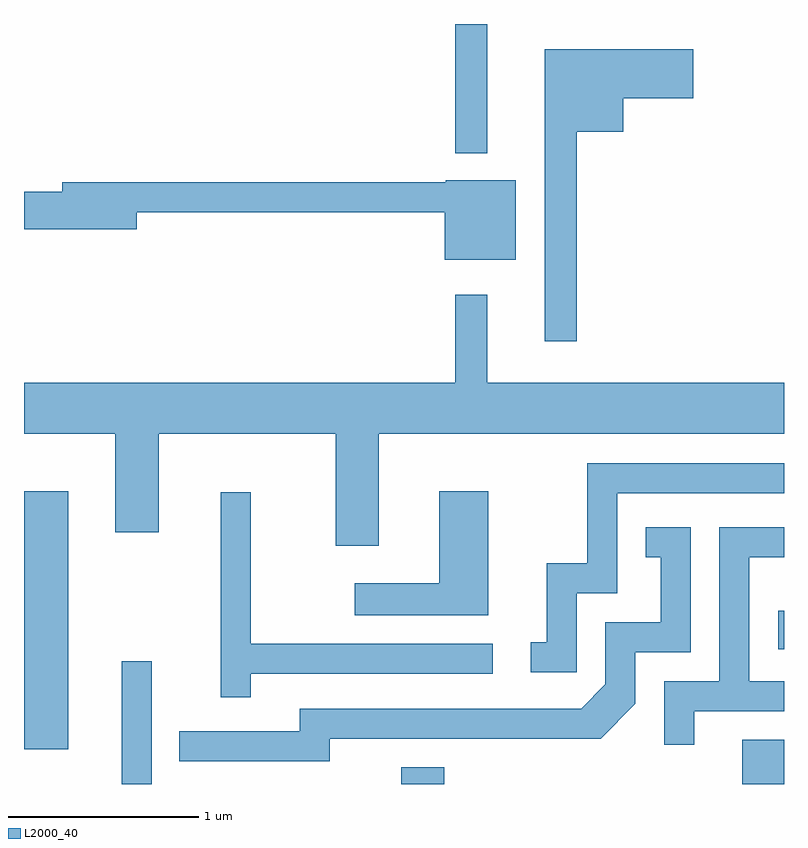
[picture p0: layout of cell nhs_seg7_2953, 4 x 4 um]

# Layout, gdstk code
import gdstk
lib = gdstk.Library(unit=1e-6, precision=1e-09)
def R(c, l, rs):  # rectangles x0, y0, x1, y1
    for r in rs: c.add(gdstk.rectangle(r[:2], r[2:], *l))
def P(c, l, *ps):  # polygons
    for p in ps: c.add(gdstk.Polygon(p, *l))
L2000_40 = (2000, 40)

nhs_seg7_2953 = lib.new_cell('nhs_seg7_2953')
R(nhs_seg7_2953, L2000_40, [(276.126,1710.252,276.284,1710.898), (277.596,1710.252,277.824,1710.339), (279.391,1710.252,279.611,1710.484), (275.611,1710.436,275.844,1711.794), (279.581,1710.961,279.611,1711.164), (277.881,1713.573,278.049,1714.252)])
P(nhs_seg7_2953, L2000_40, [(278.519,1713.686),(278.764,1713.686),(278.764,1713.861),(279.134,1713.861),(279.134,1714.119),(278.351,1714.119),(278.351,1712.583),(278.519,1712.583)],
  [(278.199,1713.429),(277.83,1713.429),(277.83,1713.419),(275.811,1713.419),(275.811,1713.369),(275.611,1713.369),(275.611,1713.171),(276.204,1713.171),(276.204,1713.261),(277.826,1713.261),(277.826,1713.011),(278.199,1713.011)],
  [(277.479,1712.096),(279.611,1712.096),(279.611,1712.364),(278.049,1712.364),(278.049,1712.828),(277.881,1712.828),(277.881,1712.364),(275.611,1712.364),(275.611,1712.096),(276.091,1712.096),(276.091,1711.576),(276.319,1711.576),(276.319,1712.096),(277.251,1712.096),(277.251,1711.506),(277.479,1711.506)],
  [(278.519,1711.256),(278.734,1711.256),(278.734,1711.781),(279.611,1711.781),(279.611,1711.939),(278.576,1711.939),(278.576,1711.414),(278.361,1711.414),(278.361,1710.999),(278.278,1710.999),(278.278,1710.841),(278.519,1710.841)],
  [(278.054,1711.794),(277.796,1711.794),(277.796,1711.309),(277.353,1711.309),(277.353,1711.141),(278.054,1711.141)],
  [(276.804,1710.831),(278.078,1710.831),(278.078,1710.989),(276.804,1710.989),(276.804,1711.788),(276.646,1711.788),(276.646,1710.708),(276.804,1710.708)],
  [(277.219,1710.491),(278.647,1710.491),(278.829,1710.674),(278.829,1710.946),(279.119,1710.946),(279.119,1711.604),(278.883,1711.604),(278.883,1711.446),(278.961,1711.446),(278.961,1711.104),(278.671,1711.104),(278.671,1710.777),(278.544,1710.649),(277.061,1710.649),(277.061,1710.529),(276.428,1710.529),(276.428,1710.371),(277.219,1710.371)],
  [(279.139,1710.636),(279.611,1710.636),(279.611,1710.794),(279.429,1710.794),(279.429,1711.446),(279.611,1711.446),(279.611,1711.604),(279.271,1711.604),(279.271,1710.794),(278.981,1710.794),(278.981,1710.458),(279.139,1710.458)])

lib.write_gds('nhs_seg7_2953.gds')
